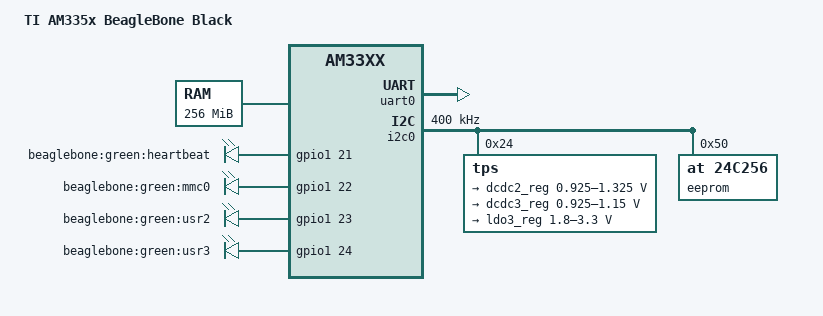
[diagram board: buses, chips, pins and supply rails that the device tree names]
/*
 * Copyright (C) 2012 Texas Instruments Incorporated - http://www.ti.com/
 *
 * This program is free software; you can redistribute it and/or modify
 * it under the terms of the GNU General Public License version 2 as
 * published by the Free Software Foundation.
 */
/dts-v1/;

/include/ "am33xx.dtsi"

/ {
	model = "TI AM335x BeagleBone Black";
	compatible = "ti,am335x-boneblack", "ti,am335x-bone", "ti,am33xx";

	cpus {
		cpu@0 {
			cpu0-supply = <&dcdc2_reg>;
		};
	};

	memory {
		device_type = "memory";
		reg = <0x80000000 0x10000000>; /* 256 MB */
	};

	am33xx_pinmux: pinmux@44e10800 {
		pinctrl-names = "default";
		pinctrl-0 = <&clkout2_pin>;

		userled_pins: pinmux_userled_pins {
			pinctrl-single,pins = <
				0x54 0x7	/* gpmc_a5.gpio1_21, OUTPUT | MODE7 */
				0x58 0x17	/* gpmc_a6.gpio1_22, OUTPUT_PULLUP | MODE7 */
				0x5c 0x7	/* gpmc_a7.gpio1_23, OUTPUT | MODE7 */
				0x60 0x17	/* gpmc_a8.gpio1_24, OUTPUT_PULLUP | MODE7 */
			>;
		};
		i2c0_pins: pinmux_i2c0_pins {
			pinctrl-single,pins = <
				0x188 0x70 	/* i2c0_sda, SLEWCTRL_SLOW | INPUT_PULLUP | MODE0 */
				0x18c 0x70	/* i2c0_scl, SLEWCTRL_SLOW | INPUT_PULLUP | MODE0 */
			>;
		};

		uart0_pins: pinmux_uart0_pins {
			pinctrl-single,pins = <
				0x170 0x30	/* uart0_rxd.uart0_rxd PULLUP |INPUTENABLE | MODE0 */
				0x174 0x00	/* uart0_txd.uart0_txd PULLDOWN | MODE0 */
			>;
		};

		clkout2_pin: pinumx_clkout2_pin {
			pinctrl-single,pins = <
				0x1b4 0x03	/* xdma_event_intr1.clkout2 OMAP_MUX_MODE3 | AM33XX_PIN_OUTPUT */
			>;
		};
	};

	ocp: ocp {
		uart0: serial@44e09000 {
			pinctrl-names = "default";
			pinctrl-0 = <&uart0_pins>;

			status = "okay";
		};

		i2c0: i2c@44e0b000 {
			pinctrl-names = "default";
			pinctrl-0 = <&i2c0_pins>;

			status = "okay";
			clock-frequency = <400000>;

			tps: tps@24 {
				reg = <0x24>;
			};

			eeprom: eeprom@50 {
				compatible = "at,24c256";
				reg = <0x50>;
			};
		};

		rtc@44e3e000 {
			ti,system-power-controller;
		};
	};

	leds {
		pinctrl-names = "default";
		pinctrl-0 = <&userled_pins>;

		compatible = "gpio-leds";

		led0 {
			label = "beaglebone:green:heartbeat";
			gpios = <&gpio1 21 0>;
			linux,default-trigger = "heartbeat";
			default-state = "off";
		};

		led1 {
			label = "beaglebone:green:mmc0";
			gpios = <&gpio1 22 0>;
			linux,default-trigger = "mmc0";
			default-state = "off";
		};

		led2 {
			label = "beaglebone:green:usr2";
			gpios = <&gpio1 23 0>;
			default-state = "off";
		};

		led3 {
			label = "beaglebone:green:usr3";
			gpios = <&gpio1 24 0>;
			linux,default-trigger = "mmc1";
			default-state = "off";
		};
	};
};

/include/ "tps65217.dtsi"

&tps {
	ti,pmic-shutdown-controller;

	regulators {
		dcdc1_reg: regulator@0 {
			regulator-always-on;
		};

		dcdc2_reg: regulator@1 {
			/* VDD_MPU voltage limits 0.95V - 1.26V with +/-4% tolerance */
			regulator-name = "vdd_mpu";
			regulator-min-microvolt = <925000>;
			regulator-max-microvolt = <1325000>;
			regulator-boot-on;
			regulator-always-on;
		};

		dcdc3_reg: regulator@2 {
			/* VDD_CORE voltage limits 0.95V - 1.1V with +/-4% tolerance */
			regulator-name = "vdd_core";
			regulator-min-microvolt = <925000>;
			regulator-max-microvolt = <1150000>;
			regulator-boot-on;
			regulator-always-on;
		};

		ldo1_reg: regulator@3 {
			regulator-always-on;
		};

		ldo2_reg: regulator@4 {
			regulator-always-on;
		};

		ldo3_reg: regulator@5 {
			regulator-min-microvolt = <1800000>;
			regulator-max-microvolt = <3300000>;
			regulator-always-on;
		};

		ldo4_reg: regulator@6 {
			regulator-always-on;
		};
	};
};

&cpsw_emac0 {
	phy_id = <&davinci_mdio>, <0>;
};

&cpsw_emac1 {
	phy_id = <&davinci_mdio>, <1>;
};
